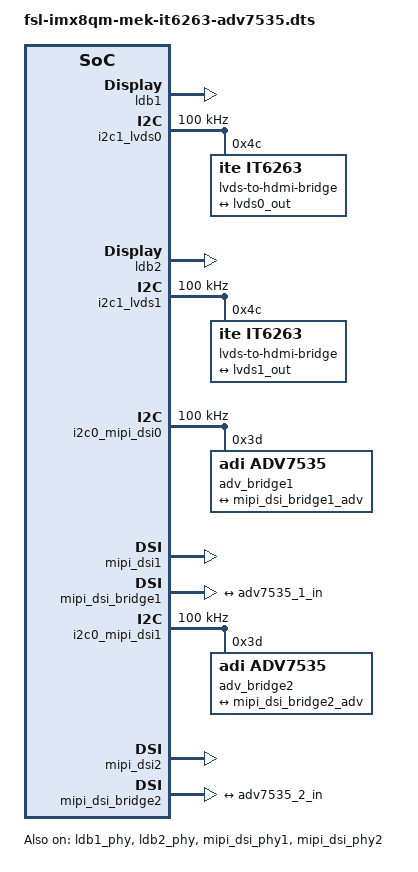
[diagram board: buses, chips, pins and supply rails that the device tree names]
/*
 * Copyright 2017 NXP
 *
 * This program is free software; you can redistribute it and/or
 * modify it under the terms of the GNU General Public License
 * as published by the Free Software Foundation; either version 2
 * of the License, or (at your option) any later version.
 *
 * This program is distributed in the hope that it will be useful,
 * but WITHOUT ANY WARRANTY; without even the implied warranty of
 * MERCHANTABILITY or FITNESS FOR A PARTICULAR PURPOSE.  See the
 * GNU General Public License for more details.
 */

#include "fsl-imx8qm-mek.dts"

&hdmi {
	status = "disabled";
};

&ldb1_phy {
	status = "okay";
};

&ldb1 {
	status = "okay";

	lvds-channel@0 {
		fsl,data-mapping = "jeida";
		fsl,data-width = <24>;
		status = "okay";

		port@1 {
			reg = <1>;

			lvds0_out: endpoint {
				remote-endpoint = <&it6263_0_in>;
			};
		};
	};
};

&i2c1_lvds0 {
	#address-cells = <1>;
	#size-cells = <0>;
	pinctrl-names = "default";
	pinctrl-0 = <&pinctrl_lvds0_lpi2c1>;
	clock-frequency = <100000>;
	status = "okay";

	lvds-to-hdmi-bridge@4c {
		compatible = "ite,it6263";
		reg = <0x4c>;

		port {
			it6263_0_in: endpoint {
				clock-lanes = <3>;
				data-lanes = <0 1 2 4>;
				remote-endpoint = <&lvds0_out>;
			};
		};
	};
};

&ldb2_phy {
	status = "okay";
};

&ldb2 {
	status = "okay";

	lvds-channel@0 {
		fsl,data-mapping = "jeida";
		fsl,data-width = <24>;
		status = "okay";

		port@1 {
			reg = <1>;

			lvds1_out: endpoint {
				remote-endpoint = <&it6263_1_in>;
			};
		};
	};
};

&i2c1_lvds1 {
	#address-cells = <1>;
	#size-cells = <0>;
	pinctrl-names = "default";
	pinctrl-0 = <&pinctrl_lvds1_lpi2c1>;
	clock-frequency = <100000>;
	status = "okay";

	lvds-to-hdmi-bridge@4c {
		compatible = "ite,it6263";
		reg = <0x4c>;

		port {
			it6263_1_in: endpoint {
				clock-lanes = <3>;
				data-lanes = <0 1 2 4>;
				remote-endpoint = <&lvds1_out>;
			};
		};
	};
};

&i2c0_mipi_dsi0 {
	#address-cells = <1>;
	#size-cells = <0>;
	pinctrl-names = "default";
	pinctrl-0 = <&pinctrl_mipi0_lpi2c0>;
	clock-frequency = <100000>;
	status = "okay";

	adv_bridge1: adv7535@3d {
		compatible = "adi,adv7535", "adi,adv7533";
		reg = <0x3d>;
		adi,dsi-lanes = <4>;
		status = "okay";

		port {
			adv7535_1_in: endpoint {
				remote-endpoint = <&mipi_dsi_bridge1_adv>;
			};
		};
	};
};

&mipi_dsi_phy1 {
	status = "okay";
};

&mipi_dsi1 {
	status = "okay";
};

&mipi_dsi_bridge1 {
	status = "okay";

	port@1 {
		mipi_dsi_bridge1_adv: endpoint {
			remote-endpoint = <&adv7535_1_in>;
		};
	};
};

&i2c0_mipi_dsi1 {
	#address-cells = <1>;
	#size-cells = <0>;
	pinctrl-names = "default";
	pinctrl-0 = <&pinctrl_mipi1_lpi2c0>;
	clock-frequency = <100000>;
	status = "okay";

	adv_bridge2: adv7535@3d {
		compatible = "adi,adv7535", "adi,adv7533";
		reg = <0x3d>;
		adi,dsi-lanes = <4>;
		status = "okay";

		port {
			adv7535_2_in: endpoint {
				remote-endpoint = <&mipi_dsi_bridge2_adv>;
			};
		};
	};
};

&mipi_dsi_phy2 {
	status = "okay";
};

&mipi_dsi2 {
	status = "okay";
};

&mipi_dsi_bridge2 {
	status = "okay";

	port@1 {
		mipi_dsi_bridge2_adv: endpoint {
			remote-endpoint = <&adv7535_2_in>;
		};
	};
};
